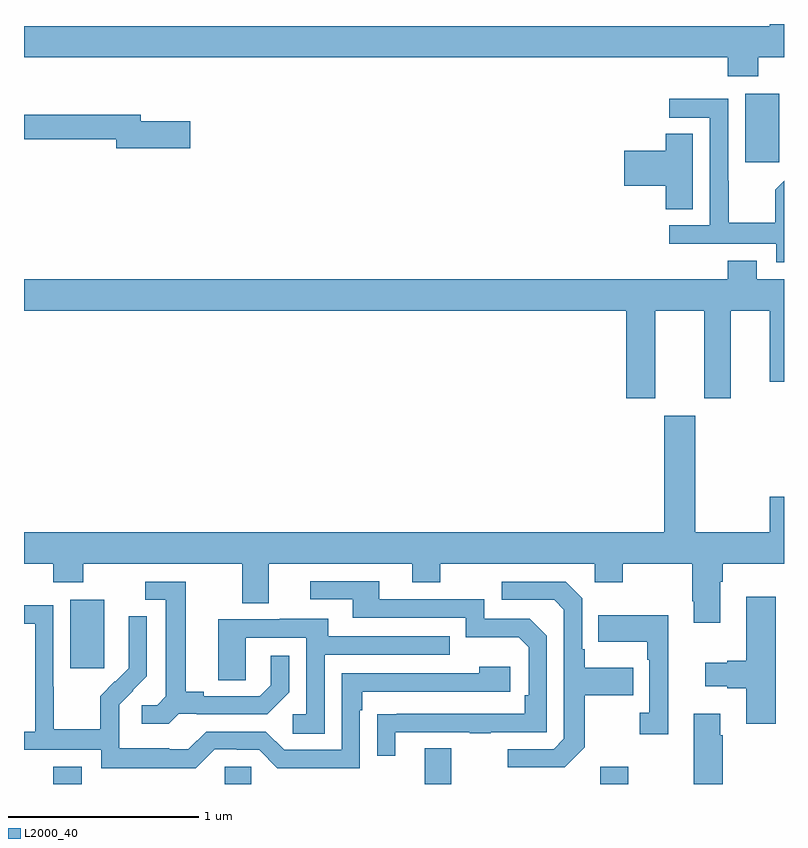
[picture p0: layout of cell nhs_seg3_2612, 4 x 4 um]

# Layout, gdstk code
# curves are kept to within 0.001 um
import gdstk
lib = gdstk.Library(unit=1e-6, precision=1e-09)
def R(c, l, rs):  # rectangles x0, y0, x1, y1
    for r in rs: c.add(gdstk.rectangle(r[:2], r[2:], *l))
def P(c, l, *ps):  # polygons
    for p in ps: c.add(gdstk.Polygon(p, *l))
L2000_40 = (2000, 40)

nhs_seg3_2612 = lib.new_cell('nhs_seg3_2612')
R(nhs_seg3_2612, L2000_40, [(245.153,722.4,245.305,722.491), (246.057,722.4,246.195,722.49), (247.109,722.4,247.249,722.587), (248.033,722.4,248.181,722.491), (245.243,723.009,245.422,723.37), (248.795,725.673,248.974,726.034)])
P(nhs_seg3_2612, L2000_40, [(248.865,726.224),(249,726.224),(249,726.4),(248.924,726.4),(248.924,726.388),(245,726.388),(245,726.224),(248.705,726.224),(248.705,726.125),(248.865,726.125)],
  [(249,725.574),(248.953,725.527),(248.953,725.353),(248.709,725.353),(248.709,725.576),(248.706,725.576),(248.706,726.006),(248.397,726.006),(248.397,725.907),(248.61,725.907),(248.61,725.34),(248.397,725.34),(248.397,725.244),(248.958,725.244),(248.958,725.147),(249,725.147)],
  [(245.875,725.889),(245.614,725.889),(245.614,725.923),(245,725.923),(245,725.794),(245.486,725.794),(245.486,725.747),(245.875,725.747)],
  [(248.521,725.822),(248.378,725.822),(248.378,725.732),(248.16,725.732),(248.16,725.549),(248.378,725.549),(248.378,725.425),(248.521,725.425)],
  [(248.323,724.892),(248.579,724.892),(248.579,724.431),(248.719,724.431),(248.719,724.892),(248.924,724.892),(248.924,724.518),(249,724.518),(249,725.056),(248.857,725.056),(248.857,725.155),(248.705,725.155),(248.705,725.056),(245,725.056),(245,724.892),(248.171,724.892),(248.171,724.431),(248.323,724.431)],
  [(248.665,723.464),(248.678,723.464),(248.678,723.56),(249,723.56),(249,723.913),(248.924,723.913),(248.924,723.724),(248.533,723.724),(248.533,724.339),(248.369,724.339),(248.369,723.724),(245,723.724),(245,723.56),(245.153,723.56),(245.153,723.461),(245.313,723.461),(245.313,723.56),(246.149,723.56),(246.149,723.352),(246.289,723.352),(246.289,723.56),(247.043,723.56),(247.043,723.461),(247.191,723.461),(247.191,723.56),(248.004,723.56),(248.004,723.461),(248.151,723.461),(248.151,723.56),(248.518,723.56),(248.518,723.361),(248.525,723.361),(248.525,723.249),(248.665,723.249)],
  [(246.955,722.673),(247.345,722.673),(247.345,722.668),(247.457,722.668),(247.457,722.673),(247.752,722.673),(247.752,723.18),(247.662,723.27),(247.422,723.27),(247.422,723.372),(246.871,723.372),(246.871,723.468),(246.507,723.468),(246.507,723.372),(246.731,723.372),(246.731,723.276),(247.326,723.276),(247.326,723.173),(247.603,723.173),(247.656,723.12),(247.656,722.866),(247.636,722.866),(247.636,722.769),(246.859,722.768),(246.859,722.55),(246.955,722.55)],
  [(245.814,722.769),(245.908,722.769),(245.908,722.766),(246.28,722.766),(246.396,722.882),(246.396,723.076),(246.299,723.076),(246.299,722.919),(246.242,722.862),(245.947,722.862),(245.947,722.885),(245.851,722.885),(245.851,723.465),(245.637,723.465),(245.637,723.369),(245.747,723.369),(245.747,722.861),(245.7,722.814),(245.619,722.814),(245.619,722.717),(245.762,722.717)],
  [(247.951,722.593),(247.951,722.866),(248.207,722.866),(248.207,723.013),(247.951,723.013),(247.951,723.109),(247.938,723.109),(247.938,723.378),(247.851,723.465),(247.515,723.465),(247.515,723.369),(247.791,723.369),(247.842,723.318),(247.842,722.637),(247.788,722.583),(247.545,722.583),(247.545,722.487),(247.845,722.487)],
  [(248.956,723.385),(248.801,723.385),(248.801,723.05),(248.702,723.05),(248.702,723.037),(248.586,723.037),(248.586,722.915),(248.702,722.915),(248.702,722.903),(248.801,722.903),(248.801,722.718),(248.956,722.718)],
  [(246.003,722.583),(246.119,722.583),(246.119,722.58),(246.237,722.58),(246.333,722.484),(246.768,722.484),(246.768,722.789),(246.781,722.789),(246.781,722.886),(247.558,722.886),(247.558,723.016),(247.397,723.016),(247.397,722.982),(246.672,722.982),(246.672,722.58),(246.369,722.58),(246.273,722.676),(245.958,722.676),(245.865,722.583),(245.765,722.583),(245.765,722.587),(245.502,722.587),(245.502,722.721),(245.5,722.721),(245.5,722.818),(245.646,722.966),(245.646,723.284),(245.55,723.284),(245.55,723.13),(245.552,723.13),(245.552,723.008),(245.481,722.937),(245.478,722.94),(245.401,722.863),(245.401,722.689),(245.157,722.689),(245.157,722.912),(245.154,722.912),(245.154,723.342),(245,723.342),(245,723.243),(245.058,723.243),(245.058,722.676),(245,722.676),(245,722.58),(245.406,722.58),(245.406,722.483),(245.903,722.483)],
  [(248.39,723.289),(248.023,723.289),(248.023,723.149),(248.28,723.149),(248.28,723.053),(248.292,723.053),(248.292,722.774),(248.241,722.774),(248.241,722.661),(248.39,722.661)],
  [(246.582,723.081),(247.241,723.081),(247.241,723.177),(246.601,723.177),(246.601,723.271),(246.347,723.271),(246.347,723.267),(246.023,723.267),(246.023,722.947),(246.168,722.947),(246.168,723.171),(246.486,723.171),(246.486,722.766),(246.414,722.766),(246.414,722.665),(246.582,722.665)],
  [(248.678,722.657),(248.665,722.657),(248.665,722.77),(248.525,722.77),(248.525,722.4),(248.678,722.4)])

lib.write_gds('nhs_seg3_2612.gds')
